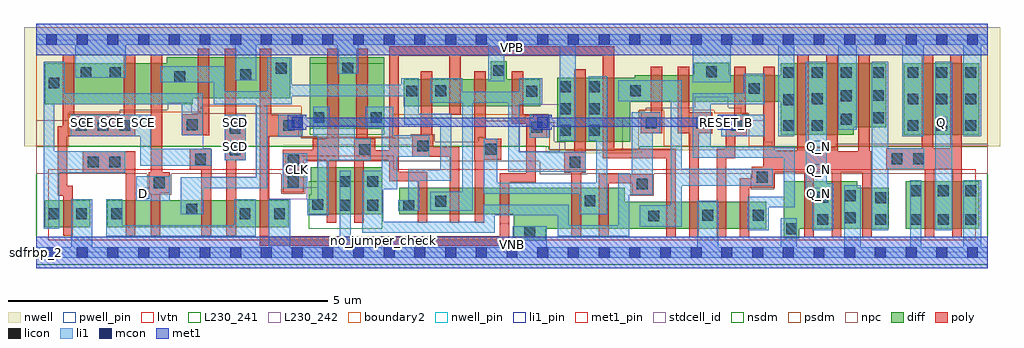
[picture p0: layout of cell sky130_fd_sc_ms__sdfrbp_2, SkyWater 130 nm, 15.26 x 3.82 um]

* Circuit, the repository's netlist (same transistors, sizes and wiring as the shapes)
* Copyright 2020 The SkyWater PDK Authors
*
* Licensed under the Apache License, Version 2.0 (the "License");
* you may not use this file except in compliance with the License.
* You may obtain a copy of the License at
*
*     https://www.apache.org/licenses/LICENSE-2.0
*
* Unless required by applicable law or agreed to in writing, software
* distributed under the License is distributed on an "AS IS" BASIS,
* WITHOUT WARRANTIES OR CONDITIONS OF ANY KIND, either express or implied.
* See the License for the specific language governing permissions and
* limitations under the License.
*
* SPDX-License-Identifier: Apache-2.0

.SUBCKT sky130_fd_sc_ms__sdfrbp_2 CLK D RESET_B SCD SCE VGND VNB VPB VPWR Q Q_N
*.PININFO CLK:I D:I RESET_B:I SCD:I SCE:I VGND:I VNB:I VPB:I VPWR:I
*.PININFO Q:O Q_N:O
MI642 clkneg CLK VGND VNB sky130_fd_pr__nfet_01v8_lvt m=1 w=0.74U l=0.15U mult=1
+ sa=0.265 sb=0.265 sd=0.28 area=0.063 perim=1.14
MI636 clkpos clkneg VGND VNB sky130_fd_pr__nfet_01v8_lvt m=1 w=0.74U l=0.15U mult=1
+ sa=0.265 sb=0.265 sd=0.28 area=0.063 perim=1.14
MI651 Q_N s0 VGND VNB sky130_fd_pr__nfet_01v8_lvt m=2 w=0.74U l=0.15U mult=1 sa=0.265
+ sb=0.265 sd=0.28 area=0.063 perim=1.14
MI42 db clkneg M0 VNB sky130_fd_pr__nfet_01v8_lvt m=1 w=0.42U l=0.15U mult=1 sa=0.265
+ sb=0.265 sd=0.28 area=0.063 perim=1.14
MI656 net136 s0 net98 VNB sky130_fd_pr__nfet_01v8_lvt m=1 w=0.42U l=0.15U mult=1
+ sa=0.265 sb=0.265 sd=0.28 area=0.063 perim=1.14
MI657 net98 RESET_B VGND VNB sky130_fd_pr__nfet_01v8_lvt m=1 w=0.42U l=0.15U mult=1
+ sa=0.265 sb=0.265 sd=0.28 area=0.063 perim=1.14
MI33 net107 RESET_B VGND VNB sky130_fd_pr__nfet_01v8_lvt m=1 w=0.42U l=0.15U mult=1
+ sa=0.265 sb=0.265 sd=0.28 area=0.063 perim=1.14
MI634 sceb SCE VGND VNB sky130_fd_pr__nfet_01v8_lvt m=1 w=0.42U l=0.15U mult=1
+ sa=0.265 sb=0.265 sd=0.28 area=0.063 perim=1.14
MI4 M0 clkpos net119 VNB sky130_fd_pr__nfet_01v8_lvt m=1 w=0.42U l=0.15U mult=1
+ sa=0.265 sb=0.265 sd=0.28 area=0.063 perim=1.14
MI34 net119 M1 net107 VNB sky130_fd_pr__nfet_01v8_lvt m=1 w=0.42U l=0.15U mult=1
+ sa=0.265 sb=0.265 sd=0.28 area=0.063 perim=1.14
MI655 s0 clkneg net135 VNB sky130_fd_pr__nfet_01v8_lvt m=1 w=0.42U l=0.15U mult=1
+ sa=0.265 sb=0.265 sd=0.28 area=0.063 perim=1.14
MI652 net207 s0 VGND VNB sky130_fd_pr__nfet_01v8_lvt m=1 w=0.64U l=0.15U mult=1
+ sa=0.265 sb=0.265 sd=0.28 area=0.063 perim=1.14
MI653 Q net207 VGND VNB sky130_fd_pr__nfet_01v8_lvt m=2 w=0.74U l=0.15U mult=1
+ sa=0.265 sb=0.265 sd=0.28 area=0.063 perim=1.14
MI654 net135 net136 VGND VNB sky130_fd_pr__nfet_01v8_lvt m=1 w=0.42U l=0.15U mult=1
+ sa=0.265 sb=0.265 sd=0.28 area=0.063 perim=1.14
MI647 M1 M0 VGND VNB sky130_fd_pr__nfet_01v8_lvt m=1 w=0.64U l=0.15U mult=1 sa=0.265
+ sb=0.265 sd=0.28 area=0.063 perim=1.14
MI649 M1 clkpos s0 VNB sky130_fd_pr__nfet_01v8_lvt m=1 w=0.64U l=0.15U mult=1 sa=0.265
+ sb=0.265 sd=0.28 area=0.063 perim=1.14
MI666 net162 RESET_B VGND VNB sky130_fd_pr__nfet_01v8_lvt m=1 w=0.42U l=0.15U mult=1
+ sa=0.265 sb=0.265 sd=0.28 area=0.525 perim=3.1
MI98 db D n0 VNB sky130_fd_pr__nfet_01v8_lvt m=1 w=0.42U l=0.15U mult=1 sa=0.265
+ sb=0.265 sd=0.28 area=0.525 perim=3.1
MI103 n1 SCD net162 VNB sky130_fd_pr__nfet_01v8_lvt m=1 w=0.42U l=0.15U mult=1
+ sa=0.265 sb=0.265 sd=0.28 area=0.525 perim=3.1
MI120 db SCE n1 VNB sky130_fd_pr__nfet_01v8_lvt m=1 w=0.42U l=0.15U mult=1 sa=0.265
+ sb=0.265 sd=0.28 area=0.525 perim=3.1
MI104 n0 sceb net162 VNB sky130_fd_pr__nfet_01v8_lvt m=1 w=0.42U l=0.15U mult=1
+ sa=0.265 sb=0.265 sd=0.28 area=0.525 perim=3.1
MI643 clkneg CLK VPWR VPB sky130_fd_pr__pfet_01v8 m=1 w=1.12U l=0.18U mult=1 sa=0.265
+ sb=0.265 sd=0.28 area=0.063 perim=1.14
MI635 clkpos clkneg VPWR VPB sky130_fd_pr__pfet_01v8 m=1 w=1.12U l=0.18U mult=1
+ sa=0.265 sb=0.265 sd=0.28 area=0.063 perim=1.14
MI43 db clkpos M0 VPB sky130_fd_pr__pfet_01v8 m=1 w=0.42U l=0.18U mult=1 sa=0.265
+ sb=0.265 sd=0.28 area=0.063 perim=1.14
MI662 net179 net136 VPWR VPB sky130_fd_pr__pfet_01v8 m=1 w=0.42U l=0.18U mult=1
+ sa=0.265 sb=0.265 sd=0.28 area=0.063 perim=1.14
MI659 net136 RESET_B VPWR VPB sky130_fd_pr__pfet_01v8 m=1 w=0.42U l=0.18U mult=1
+ sa=0.265 sb=0.265 sd=0.28 area=0.063 perim=1.14
MI664 s0 clkpos net179 VPB sky130_fd_pr__pfet_01v8 m=1 w=0.42U l=0.18U mult=1 sa=0.265
+ sb=0.265 sd=0.28 area=0.063 perim=1.14
MI658 net136 s0 VPWR VPB sky130_fd_pr__pfet_01v8 m=1 w=0.42U l=0.18U mult=1 sa=0.265
+ sb=0.265 sd=0.28 area=0.063 perim=1.14
MI30 net198 M1 VPWR VPB sky130_fd_pr__pfet_01v8 m=1 w=0.42U l=0.18U mult=1 sa=0.265
+ sb=0.265 sd=0.28 area=0.063 perim=1.14
MI31 M0 clkneg net198 VPB sky130_fd_pr__pfet_01v8 m=1 w=0.42U l=0.18U mult=1 sa=0.265
+ sb=0.265 sd=0.28 area=0.063 perim=1.14
MI32 M0 RESET_B VPWR VPB sky130_fd_pr__pfet_01v8 m=1 w=0.42U l=0.18U mult=1 sa=0.265
+ sb=0.265 sd=0.28 area=0.063 perim=1.14
MI663 net207 s0 VPWR VPB sky130_fd_pr__pfet_01v8 m=1 w=1.0U l=0.18U mult=1 sa=0.265
+ sb=0.265 sd=0.28 area=0.063 perim=1.14
MI660 Q net207 VPWR VPB sky130_fd_pr__pfet_01v8 m=2 w=1.12U l=0.18U mult=1 sa=0.265
+ sb=0.265 sd=0.28 area=0.063 perim=1.14
MI661 Q_N s0 VPWR VPB sky130_fd_pr__pfet_01v8 m=2 w=1.12U l=0.18U mult=1 sa=0.265
+ sb=0.265 sd=0.28 area=0.063 perim=1.14
MI648 M1 M0 VPWR VPB sky130_fd_pr__pfet_01v8 m=1 w=1.0U l=0.18U mult=1 sa=0.265
+ sb=0.265 sd=0.28 area=0.063 perim=1.14
MI650 M1 clkneg s0 VPB sky130_fd_pr__pfet_01v8 m=1 w=1.0U l=0.18U mult=1 sa=0.265
+ sb=0.265 sd=0.28 area=0.063 perim=1.14
MI633 sceb SCE VPWR VPB sky130_fd_pr__pfet_01v8 m=1 w=0.64U l=0.18U mult=1 sa=0.265
+ sb=0.265 sd=0.28 area=0.063 perim=1.14
MI101 db sceb p1 VPB sky130_fd_pr__pfet_01v8 m=1 w=0.64U l=0.18U mult=1 sa=0.265
+ sb=0.265 sd=0.28 area=0.063 perim=1.14
MI107 p0 SCE VPWR VPB sky130_fd_pr__pfet_01v8 m=1 w=0.64U l=0.18U mult=1 sa=0.265
+ sb=0.265 sd=0.28 area=0.063 perim=1.14
MI94 db D p0 VPB sky130_fd_pr__pfet_01v8 m=1 w=0.64U l=0.18U mult=1 sa=0.265 sb=0.265
+ sd=0.28 area=0.063 perim=1.14
MI108 p1 SCD VPWR VPB sky130_fd_pr__pfet_01v8 m=1 w=0.64U l=0.18U mult=1 sa=0.265
+ sb=0.265 sd=0.28 area=0.063 perim=1.14
MI665 db RESET_B VPWR VPB sky130_fd_pr__pfet_01v8 m=1 w=0.64U l=0.18U mult=1 sa=0.265
+ sb=0.265 sd=0.28 area=0.063 perim=1.14
.ENDS sky130_fd_sc_ms__sdfrbp_2

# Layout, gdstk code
import gdstk
lib = gdstk.Library(unit=1e-6, precision=1e-09)
def R(c, l, rs):  # rectangles x0, y0, x1, y1
    for r in rs: c.add(gdstk.rectangle(r[:2], r[2:], *l))
def A(c, l, x, y, w, h, nx, ny, dx, dy):  # array of equal rectangles
    R(c, l, [(x+i*dx, y+j*dy, x+i*dx+w, y+j*dy+h) for i in range(nx) for j in range(ny)])
def P(c, l, *ps):  # polygons
    for p in ps: c.add(gdstk.Polygon(p, *l))
nwell_pin = (64, 16)
nwell = (64, 20)
diff = (65, 20)
poly = (66, 20)
licon = (66, 44)
li1_pin = (67, 16)
li1 = (67, 20)
mcon = (67, 44)
met1_pin = (68, 16)
met1 = (68, 20)
stdcell_id = (81, 4)
nsdm = (93, 44)
psdm = (94, 20)
npc = (95, 20)
pwell_pin = (122, 16)
lvtn = (125, 44)
L230_241 = (230, 241)
L230_242 = (230, 242)
boundary2 = (236, 0)

sky130_fd_sc_ms__sdfrbp_ = lib.new_cell('sky130_fd_sc_ms__sdfrbp_2')
R(sky130_fd_sc_ms__sdfrbp_, nwell_pin, [(0,3.085,14.88,3.33)])
P(sky130_fd_sc_ms__sdfrbp_, nwell, [(15.07,3.52),(-0.19,3.52),(-0.19,1.66),(3.86,1.66),(3.86,1.675),(5.885,1.675),(5.885,1.66),(7.97,1.66),(7.97,1.555),(9.47,1.555),(9.47,1.595),(12.54,1.595),(12.54,1.66),(15.07,1.66)])
R(sky130_fd_sc_ms__sdfrbp_, diff, [(13.6,0.37,14.745,1.11), (0.135,0.395,0.845,0.815), (1.115,0.395,3.95,0.815), (13.565,1.84,14.745,2.96), (4.275,1.935,5.445,3.055)])
P(sky130_fd_sc_ms__sdfrbp_, diff, [(13.295,2.96),(11.64,2.96),(11.64,2.775),(10.84,2.775),(10.84,2.97),(10.285,2.97),(10.285,2.775),(9.36,2.775),(9.36,2.735),(8.15,2.735),(8.15,1.735),(9.29,1.735),(9.29,2.355),(11.64,2.355),(11.64,1.84),(12.78,1.84),(12.78,1.96),(13.295,1.96)],
  [(13.33,1.01),(12.84,1.01),(12.84,1.11),(11.685,1.11),(11.685,0.225),(11.935,0.225),(11.935,0.37),(13.33,0.37)],
  [(3.975,3.055),(2.045,3.055),(2.045,2.96),(0.135,2.96),(0.135,2.32),(2.45,2.32),(2.45,2.415),(3.975,2.415)],
  [(5.41,1.335),(4.295,1.335),(4.295,0.9),(4.26,0.9),(4.26,0.595),(5.41,0.595)],
  [(7.88,2.705),(7.36,2.705),(7.36,2.99),(7.105,2.99),(7.105,2.705),(5.745,2.705),(5.745,2.285),(7.88,2.285)],
  [(11.415,0.79),(9.2,0.79),(9.2,1.01),(8.055,1.01),(8.055,1.015),(5.68,1.015),(5.68,0.595),(7.47,0.595),(7.47,0.18),(7.965,0.18),(7.965,0.37),(11.415,0.37)])
P(sky130_fd_sc_ms__sdfrbp_, poly, [(1.55,3.09),(1.37,3.09),(1.37,2.15),(0.595,2.15),(0.595,3.09),(0.415,3.09),(0.415,1.97),(0.335,1.97),(0.335,0.89),(0.42,0.89),(0.42,0.265),(0.57,0.265),(0.57,1.04),(0.485,1.04),(0.485,1.82),(1.55,1.82)],
  [(1.55,1.58),(0.725,1.58),(0.725,1.25),(1.4,1.25),(1.4,0.265),(1.55,0.265)],
  [(2.09,1.255),(1.97,1.255),(1.97,3.09),(1.79,3.09),(1.79,1.255),(1.76,1.255),(1.76,0.925),(1.79,0.925),(1.79,0.265),(1.94,0.265),(1.94,0.925),(2.09,0.925)],
  [(2.705,3.185),(2.525,3.185),(2.525,2.16),(2.275,2.16),(2.275,1.83),(2.705,1.83)],
  [(2.735,1.62),(2.405,1.62),(2.405,1.29),(2.585,1.29),(2.585,0.265),(2.735,0.265)],
  [(3.275,2.11),(3.125,2.11),(3.125,3.185),(2.945,3.185),(2.945,1.44),(2.975,1.44),(2.975,0.265),(3.125,0.265),(3.125,1.44),(3.275,1.44)],
  [(10,1.625),(9.04,1.625),(9.04,3.225),(5.52,3.225),(5.52,1.595),(5.305,1.595),(5.305,1.775),(5.185,1.775),(5.185,3.185),(5.005,3.185),(5.005,1.775),(4.975,1.775),(4.975,0.465),(5.125,0.465),(5.125,1.445),(5.52,1.445),(5.52,1.11),(5.965,1.11),(5.965,0.465),(6.115,0.465),(6.115,1.26),(5.67,1.26),(5.67,3.075),(6.46,3.075),(6.46,2.155),(6.64,2.155),(6.64,3.075),(8.86,3.075),(8.86,1.475),(9.85,1.475),(9.85,0.24),(10,0.24)],
  [(10.57,2.195),(10.21,2.195),(10.21,2.905),(10.03,2.905),(10.03,1.865),(10.21,1.865),(10.21,0.24),(10.36,0.24),(10.36,1.865),(10.57,1.865)],
  [(14.475,3.09),(14.295,3.09),(14.295,1.63),(14.025,1.63),(14.025,3.09),(13.845,3.09),(13.845,1.63),(13.295,1.63),(13.295,1.3),(13.895,1.3),(13.895,0.24),(14.045,0.24),(14.045,1.3),(14.325,1.3),(14.325,0.24),(14.475,0.24)],
  [(13.065,1.585),(13.035,1.585),(13.035,3.09),(12.855,3.09),(12.855,1.585),(12.53,1.585),(12.53,3.09),(12.35,3.09),(12.35,1.585),(12.08,1.585),(12.08,3.09),(11.9,3.09),(11.9,1.59),(11.545,1.59),(11.545,2.905),(11.365,2.905),(11.365,1.34),(11.19,1.34),(11.19,1.16),(11,1.16),(11,0.24),(11.15,0.24),(11.15,1.01),(11.545,1.01),(11.545,1.255),(12.01,1.255),(12.01,0.24),(12.16,0.24),(12.16,1.255),(12.44,1.255),(12.44,0.24),(12.59,0.24),(12.59,1.255),(12.915,1.255),(12.915,0.24),(13.065,0.24)],
  [(4.735,3.185),(4.555,3.185),(4.555,1.775),(4.325,1.775),(4.325,1.61),(3.855,1.61),(3.855,0.94),(4.185,0.94),(4.185,1.445),(4.545,1.445),(4.545,0.465),(4.695,0.465),(4.695,1.445),(4.735,1.445)],
  [(6.615,1.65),(6.21,1.65),(6.21,1.83),(6.19,1.83),(6.19,2.835),(6.01,2.835),(6.01,1.83),(5.88,1.83),(5.88,1.5),(6.465,1.5),(6.465,0.465),(6.615,0.465)],
  [(7.27,1.78),(7.03,1.78),(7.03,2.835),(6.85,2.835),(6.85,1.45),(6.855,1.45),(6.855,0.465),(7.005,0.465),(7.005,1.45),(7.27,1.45)],
  [(9.79,2.905),(9.61,2.905),(9.61,2.195),(9.45,2.195),(9.45,1.865),(9.79,1.865)],
  [(7.99,2.165),(7.615,2.165),(7.615,2.835),(7.435,2.835),(7.435,2.015),(7.66,2.015),(7.66,1.24),(7.245,1.24),(7.245,0.255),(3.645,0.255),(3.645,1.82),(4.115,1.82),(4.115,2.15),(3.675,2.15),(3.675,3.185),(3.495,3.185),(3.495,0.105),(7.395,0.105),(7.395,1.09),(7.81,1.09),(7.81,1.795),(7.99,1.795)],
  [(11.11,2.15),(11.095,2.15),(11.095,2.905),(10.915,2.905),(10.915,2.15),(10.78,2.15),(10.78,1.625),(10.64,1.625),(10.64,0.24),(10.79,0.24),(10.79,1.475),(10.93,1.475),(10.93,1.82),(11.11,1.82)],
  [(8.59,2.865),(8.41,2.865),(8.41,1.575),(8.26,1.575),(8.26,1.245),(8.37,1.245),(8.37,0.24),(8.52,0.24),(8.52,1.245),(8.59,1.245)],
  [(9.64,1.235),(8.8,1.235),(8.8,0.24),(8.95,0.24),(8.95,1.085),(9.31,1.085),(9.31,0.905),(9.64,0.905)])
A(sky130_fd_sc_ms__sdfrbp_, licon, 13.67, 0.43, 0.17, 0.17, 3, 2, 0.43, 0.45)
A(sky130_fd_sc_ms__sdfrbp_, licon, 8.19, 1.825, 0.17, 0.17, 1, 3, 0, 0.34)
A(sky130_fd_sc_ms__sdfrbp_, licon, 8.64, 1.825, 0.17, 0.17, 1, 3, 0, 0.34)
A(sky130_fd_sc_ms__sdfrbp_, licon, 0.62, 1.9, 0.17, 0.17, 3, 1, 0.34, 0)
A(sky130_fd_sc_ms__sdfrbp_, licon, 13.625, 1.9, 0.17, 0.17, 3, 3, 0.45, 0.415)
A(sky130_fd_sc_ms__sdfrbp_, licon, 11.68, 2.73, 0.17, 0.17, 3, 1, 0.45, 0)
R(sky130_fd_sc_ms__sdfrbp_, licon, [(7.63,0.24,7.8,0.41), (11.725,0.285,11.895,0.455), (12.215,0.43,12.385,0.6), (13.12,0.43,13.29,0.6), (12.645,0.46,12.815,0.63), (9.57,0.485,9.74,0.655), (10.415,0.495,10.585,0.665), (11.205,0.495,11.375,0.665), (0.195,0.52,0.365,0.69), (0.625,0.52,0.795,0.69), (1.175,0.52,1.345,0.69), (3.18,0.52,3.35,0.69), (3.72,0.52,3.89,0.69), (2.35,0.595,2.52,0.765), (5.74,0.65,5.91,0.82), (4.75,0.655,4.92,0.825), (5.18,0.655,5.35,0.825), (4.32,0.665,4.49,0.835), (6.24,0.715,6.41,0.885), (8.575,0.725,8.745,0.895), (13.12,0.77,13.29,0.94), (12.215,0.78,12.385,0.95), (12.645,0.8,12.815,0.97), (9.39,0.985,9.56,1.155), (1.84,1.005,2.01,1.175), (3.935,1.02,4.105,1.19), (4.75,1.025,4.92,1.195), (5.18,1.025,5.35,1.195), (11.27,1.09,11.44,1.26), (8.34,1.325,8.51,1.495), (0.805,1.33,0.975,1.5), (1.145,1.33,1.315,1.5), (3.935,1.36,4.105,1.53), (2.485,1.37,2.655,1.54), (13.375,1.38,13.545,1.55), (13.715,1.38,13.885,1.55), (3.025,1.52,3.195,1.69), (5.055,1.525,5.225,1.695), (7.02,1.53,7.19,1.7), (5.96,1.58,6.13,1.75), (3.025,1.86,3.195,2.03), (7.74,1.875,7.91,2.045), (3.865,1.9,4.035,2.07), (10.86,1.9,11.03,2.07), (11.68,1.9,11.85,2.07), (12.13,1.9,12.3,2.07), (2.355,1.91,2.525,2.08), (9.53,1.945,9.7,2.115), (10.32,1.945,10.49,2.115), (12.58,2,12.75,2.17), (13.085,2.02,13.255,2.19), (4.335,2.025,4.505,2.195), (5.235,2.025,5.405,2.195), (11.68,2.305,11.85,2.475), (12.13,2.32,12.3,2.49), (12.58,2.365,12.75,2.535), (13.085,2.37,13.255,2.54), (7.665,2.435,7.835,2.605), (5.79,2.44,5.96,2.61), (6.24,2.445,6.41,2.615), (9.285,2.445,9.455,2.615), (11.145,2.48,11.315,2.65), (0.195,2.565,0.365,2.735), (2.16,2.66,2.33,2.83), (3.195,2.695,3.365,2.865), (0.695,2.73,0.865,2.9), (1.15,2.73,1.32,2.9), (13.085,2.73,13.255,2.9), (10.475,2.74,10.645,2.91), (7.15,2.76,7.32,2.93), (3.745,2.795,3.915,2.965), (4.785,2.795,4.955,2.965)])
A(sky130_fd_sc_ms__sdfrbp_, li1_pin, 12.155, 0.84, 0.17, 0.17, 1, 3, 0, 0.37)
A(sky130_fd_sc_ms__sdfrbp_, li1_pin, 0.635, 1.95, 0.17, 0.17, 3, 1, 0.48, 0)
R(sky130_fd_sc_ms__sdfrbp_, li1_pin, [(1.595,0.84,1.765,1.01), (3.995,1.21,4.165,1.38), (3.035,1.58,3.205,1.75), (3.035,1.95,3.205,2.12), (14.075,1.95,14.245,2.12)])
R(sky130_fd_sc_ms__sdfrbp_, li1, [(14.055,0.35,14.325,2.98), (1.565,0.81,2.09,1.19), (3.855,1.005,4.235,1.55), (2.945,1.44,3.275,2.15), (7.72,1.795,8.02,2.15), (3.785,1.82,4.165,2.15), (10.715,1.82,11.395,2.15)])
P(sky130_fd_sc_ms__sdfrbp_, li1, [(2.605,2.49),(0.445,2.49),(0.445,2.98),(0.115,2.98),(0.115,0.375),(0.365,0.375),(0.365,1.25),(1.395,1.25),(1.395,1.58),(0.285,1.58),(0.285,2.32),(2.275,2.32),(2.275,1.83),(2.605,1.83)],
  [(2.735,1.62),(1.795,1.62),(1.795,2.15),(0.54,2.15),(0.54,1.82),(1.625,1.82),(1.625,1.36),(2.735,1.36)],
  [(3.43,0.835),(3.1,0.835),(3.1,0.425),(1.345,0.425),(1.345,0.835),(1.095,0.835),(1.095,0.255),(3.43,0.255)],
  [(5.235,1.775),(4.985,1.775),(4.985,1.99),(4.585,1.99),(4.585,2.275),(4.335,2.275),(4.335,1.82),(4.405,1.82),(4.405,0.835),(4.24,0.835),(4.24,0.585),(4.575,0.585),(4.575,1.445),(5.235,1.445)],
  [(14.88,3.415),(0,3.415),(0,3.245),(0.615,3.245),(0.615,2.73),(1.4,2.73),(1.4,3.245),(3.115,3.245),(3.115,2.69),(3.445,2.69),(3.445,3.245),(4.705,3.245),(4.705,2.795),(5.035,2.795),(5.035,3.245),(7.07,3.245),(7.07,2.68),(7.32,2.68),(7.32,3.245),(8.19,3.245),(8.19,1.745),(8.44,1.745),(8.44,3.245),(10.265,3.245),(10.265,2.66),(10.86,2.66),(10.86,3.245),(11.6,3.245),(11.6,1.82),(11.85,1.82),(11.85,3.245),(12.54,3.245),(12.54,1.92),(12.83,1.92),(12.83,3.245),(13.545,3.245),(13.545,1.82),(13.875,1.82),(13.875,3.245),(14.495,3.245),(14.495,1.82),(14.775,1.82),(14.775,3.245),(14.88,3.245)],
  [(6.49,2.17),(5.985,2.17),(5.985,2.725),(5.71,2.725),(5.71,2.625),(3.995,2.625),(3.995,3.055),(3.615,3.055),(3.615,2.52),(2.945,2.52),(2.945,2.91),(1.94,2.91),(1.94,2.66),(2.775,2.66),(2.775,2.32),(3.445,2.32),(3.445,1.175),(2.26,1.175),(2.26,0.595),(2.61,0.595),(2.61,1.005),(3.615,1.005),(3.615,2.32),(3.995,2.32),(3.995,2.445),(5.755,2.445),(5.755,2),(6.32,2),(6.32,1.29),(5.82,1.29),(5.82,0.82),(5.66,0.82),(5.66,0.65),(5.99,0.65),(5.99,1.12),(6.49,1.12)],
  [(8.59,1.575),(7.55,1.575),(7.55,2.32),(7.915,2.32),(7.915,2.725),(7.55,2.725),(7.55,2.51),(6.66,2.51),(6.66,2.725),(6.16,2.725),(6.16,2.34),(6.66,2.34),(6.66,0.95),(6.16,0.95),(6.16,0.65),(6.83,0.65),(6.83,2.34),(7.38,2.34),(7.38,1.26),(8.59,1.26)],
  [(8.93,2.755),(8.64,2.755),(8.64,1.745),(8.76,1.745),(8.76,1.09),(7.21,1.09),(7.21,1.78),(7,1.78),(7,0.92),(8.495,0.92),(8.495,0.595),(8.93,0.595)],
  [(9.755,2.195),(9.31,2.195),(9.31,1.235),(9.1,1.235),(9.1,0.425),(8.325,0.425),(8.325,0.75),(7,0.75),(7,0.48),(5.43,0.48),(5.43,0.99),(5.645,0.99),(5.645,1.5),(6.15,1.5),(6.15,1.83),(5.585,1.83),(5.585,2.275),(5.155,2.275),(5.155,1.945),(5.405,1.945),(5.405,1.275),(5.1,1.275),(5.1,0.31),(7.17,0.31),(7.17,0.58),(8.155,0.58),(8.155,0.255),(9.27,0.255),(9.27,0.905),(9.64,0.905),(9.64,1.865),(9.755,1.865)],
  [(11.52,1.31),(10.095,1.31),(10.095,2.695),(9.1,2.695),(9.1,2.365),(9.925,2.365),(9.925,0.735),(9.44,0.735),(9.44,0.405),(10.095,0.405),(10.095,1.045),(11.52,1.045)],
  [(11.86,1.65),(10.545,1.65),(10.545,2.32),(11.395,2.32),(11.395,2.795),(11.065,2.795),(11.065,2.49),(10.265,2.49),(10.265,1.48),(11.69,1.48),(11.69,0.875),(11.125,0.875),(11.125,0.35),(11.455,0.35),(11.455,0.705),(11.86,0.705)],
  [(12.465,1.085),(12.36,1.085),(12.36,2.98),(12.03,2.98),(12.03,0.915),(12.135,0.915),(12.135,0.35),(12.465,0.35)],
  [(13.885,1.63),(13.325,1.63),(13.325,2.98),(13.065,2.98),(13.065,0.35),(13.325,0.35),(13.325,1.3),(13.885,1.3)],
  [(14.88,0.085),(14.78,0.085),(14.78,1.13),(14.495,1.13),(14.495,0.085),(13.84,0.085),(13.84,1.13),(13.67,1.13),(13.67,0.085),(12.895,0.085),(12.895,1.05),(12.635,1.05),(12.635,0.085),(11.895,0.085),(11.895,0.535),(11.645,0.535),(11.645,0.085),(10.665,0.085),(10.665,0.81),(10.335,0.81),(10.335,0.085),(7.985,0.085),(7.985,0.41),(7.45,0.41),(7.45,0.085),(4.92,0.085),(4.92,1.275),(4.75,1.275),(4.75,0.085),(3.97,0.085),(3.97,0.835),(3.64,0.835),(3.64,0.085),(0.875,0.085),(0.875,0.835),(0.545,0.835),(0.545,0.085),(0,0.085),(0,-0.085),(14.88,-0.085)])
A(sky130_fd_sc_ms__sdfrbp_, mcon, 0.155, -0.085, 0.17, 0.17, 31, 2, 0.48, 3.33)
R(sky130_fd_sc_ms__sdfrbp_, mcon, [(3.995,1.95,4.165,2.12), (7.835,1.95,8.005,2.12), (10.715,1.95,10.885,2.12)])
R(sky130_fd_sc_ms__sdfrbp_, met1_pin, [(0,0,14.88,0.245), (10.715,1.95,10.885,2.12), (0,3.085,14.88,3.33)])
R(sky130_fd_sc_ms__sdfrbp_, met1, [(0,-0.245,14.88,0.245), (0,3.085,14.88,3.575)])
P(sky130_fd_sc_ms__sdfrbp_, met1, [(10.945,2.15),(10.655,2.15),(10.655,2.105),(8.065,2.105),(8.065,2.15),(7.775,2.15),(7.775,2.105),(4.225,2.105),(4.225,2.15),(3.935,2.15),(3.935,1.92),(4.225,1.92),(4.225,1.965),(7.775,1.965),(7.775,1.92),(8.065,1.92),(8.065,1.965),(10.655,1.965),(10.655,1.92),(10.945,1.92)])
R(sky130_fd_sc_ms__sdfrbp_, stdcell_id, [(0,0,14.88,3.33)])
P(sky130_fd_sc_ms__sdfrbp_, nsdm, [(14.88,1.66),(9.42,1.66),(9.42,1.605),(8.02,1.605),(8.02,1.66),(0,1.66),(0,-0.19),(14.88,-0.19)])
P(sky130_fd_sc_ms__sdfrbp_, psdm, [(14.88,3.52),(0,3.52),(0,1.66),(0.51,1.66),(0.51,2.19),(2.58,2.19),(2.58,2.285),(4.145,2.285),(4.145,1.805),(5.575,1.805),(5.575,2.155),(8.02,2.155),(8.02,1.605),(9.42,1.605),(9.42,2.225),(9.81,2.225),(9.81,1.66),(10.21,1.66),(10.21,2.225),(10.6,2.225),(10.6,2.18),(11.14,2.18),(11.14,1.66),(11.52,1.66),(11.52,1.645),(12.49,1.645),(12.49,1.66),(14.88,1.66)])
P(sky130_fd_sc_ms__sdfrbp_, npc, [(14.88,1.7),(12.5,1.7),(12.5,1.635),(11.51,1.635),(11.51,1.73),(11.395,1.73),(11.395,2.065),(11.13,2.065),(11.13,2.17),(11.025,2.17),(11.025,2.265),(10.825,2.265),(10.825,2.435),(10.3,2.435),(10.3,2.265),(9.535,2.265),(9.535,2.215),(9.43,2.215),(9.43,2.11),(9.165,2.11),(9.165,1.595),(8.275,1.595),(8.275,1.735),(8.1,1.735),(8.1,2.04),(8.01,2.04),(8.01,2.145),(7.64,2.145),(7.64,2.06),(7.025,2.06),(7.025,1.805),(6.91,1.805),(6.91,1.73),(6.23,1.73),(6.23,1.85),(5.86,1.85),(5.86,1.795),(4.135,1.795),(4.135,2.18),(2.435,2.18),(2.435,2.34),(2.06,2.34),(2.06,2.23),(1.305,2.23),(1.305,2.17),(0.52,2.17),(0.52,2.065),(0,2.065),(0,1.23),(1.74,1.23),(1.74,0.905),(2.11,0.905),(2.11,1.23),(3.835,1.23),(3.835,0.92),(4.205,0.92),(4.205,1.425),(7.875,1.425),(7.875,1.225),(8.61,1.225),(8.61,1.23),(9.29,1.23),(9.29,0.885),(9.66,0.885),(9.66,1.23),(11.17,1.23),(11.17,0.99),(11.54,0.99),(11.54,1.23),(14.88,1.23)])
R(sky130_fd_sc_ms__sdfrbp_, pwell_pin, [(0,0,14.88,0.245)])
P(sky130_fd_sc_ms__sdfrbp_, lvtn, [(14.69,1.3),(5.59,1.3),(5.59,1.515),(4.115,1.515),(4.115,1.3),(0.19,1.3),(0.19,0.19),(14.69,0.19)])
R(sky130_fd_sc_ms__sdfrbp_, L230_241, [(4.26,0.37,5.41,1.11), (3.905,1.18,4.235,1.55), (2.945,1.44,3.275,2.15), (7.72,1.795,8.02,2.15), (3.785,1.82,4.165,2.15), (4.275,1.84,5.445,2.96)])
R(sky130_fd_sc_ms__sdfrbp_, L230_242, [(7.55,1.575,8.19,2.32)])
P(sky130_fd_sc_ms__sdfrbp_, L230_242, [(7.245,0.46),(7.245,0.255),(3.645,0.255),(3.645,0.265),(3.495,0.265),(3.495,0.105),(7.395,0.105),(7.395,0.46)],
  [(3.445,2.32),(2.605,2.32),(2.605,1.62),(2.735,1.62),(2.735,1.175),(3.445,1.175)],
  [(4.405,1.82),(3.615,1.82),(3.615,0.835),(4.24,0.835),(4.24,1.01),(4.405,1.01)])
R(sky130_fd_sc_ms__sdfrbp_, boundary2, [(0,0,14.88,3.33)])
sky130_fd_sc_ms__sdfrbp_.add(gdstk.Label('VNB', (7.44,0.123), layer=64, texttype=59))
sky130_fd_sc_ms__sdfrbp_.add(gdstk.Label('VPB', (7.44,3.208), layer=64, texttype=5))
sky130_fd_sc_ms__sdfrbp_.add(gdstk.Label('sdfrbp_2', (0,0), layer=83, texttype=44))
sky130_fd_sc_ms__sdfrbp_.add(gdstk.Label('no_jumper_check', (6.985,3.15), layer=83, texttype=44))
sky130_fd_sc_ms__sdfrbp_.add(gdstk.Label('no_jumper_check', (5.43,0.18), layer=83, texttype=44))
sky130_fd_sc_ms__sdfrbp_.add(gdstk.Label('RESET_B', (10.8,2.035), layer=68, texttype=5))
sky130_fd_sc_ms__sdfrbp_.add(gdstk.Label('VPWR', (7.44,3.208), layer=68, texttype=5))
sky130_fd_sc_ms__sdfrbp_.add(gdstk.Label('VGND', (7.44,0.123), layer=68, texttype=5))
sky130_fd_sc_ms__sdfrbp_.add(gdstk.Label('D', (1.68,0.925), layer=67, texttype=5))
sky130_fd_sc_ms__sdfrbp_.add(gdstk.Label('CLK', (4.08,1.295), layer=67, texttype=5))
sky130_fd_sc_ms__sdfrbp_.add(gdstk.Label('SCE', (0.72,2.035), layer=67, texttype=5))
sky130_fd_sc_ms__sdfrbp_.add(gdstk.Label('SCE', (1.2,2.035), layer=67, texttype=5))
sky130_fd_sc_ms__sdfrbp_.add(gdstk.Label('SCE', (1.68,2.035), layer=67, texttype=5))
sky130_fd_sc_ms__sdfrbp_.add(gdstk.Label('SCD', (3.12,1.665), layer=67, texttype=5))
sky130_fd_sc_ms__sdfrbp_.add(gdstk.Label('SCD', (3.12,2.035), layer=67, texttype=5))
sky130_fd_sc_ms__sdfrbp_.add(gdstk.Label('Q', (14.16,2.035), layer=67, texttype=5))
sky130_fd_sc_ms__sdfrbp_.add(gdstk.Label('Q_N', (12.24,0.925), layer=67, texttype=5))
sky130_fd_sc_ms__sdfrbp_.add(gdstk.Label('Q_N', (12.24,1.295), layer=67, texttype=5))
sky130_fd_sc_ms__sdfrbp_.add(gdstk.Label('Q_N', (12.24,1.665), layer=67, texttype=5))

lib.write_gds('sky130_fd_sc_ms__sdfrbp_2.gds')
